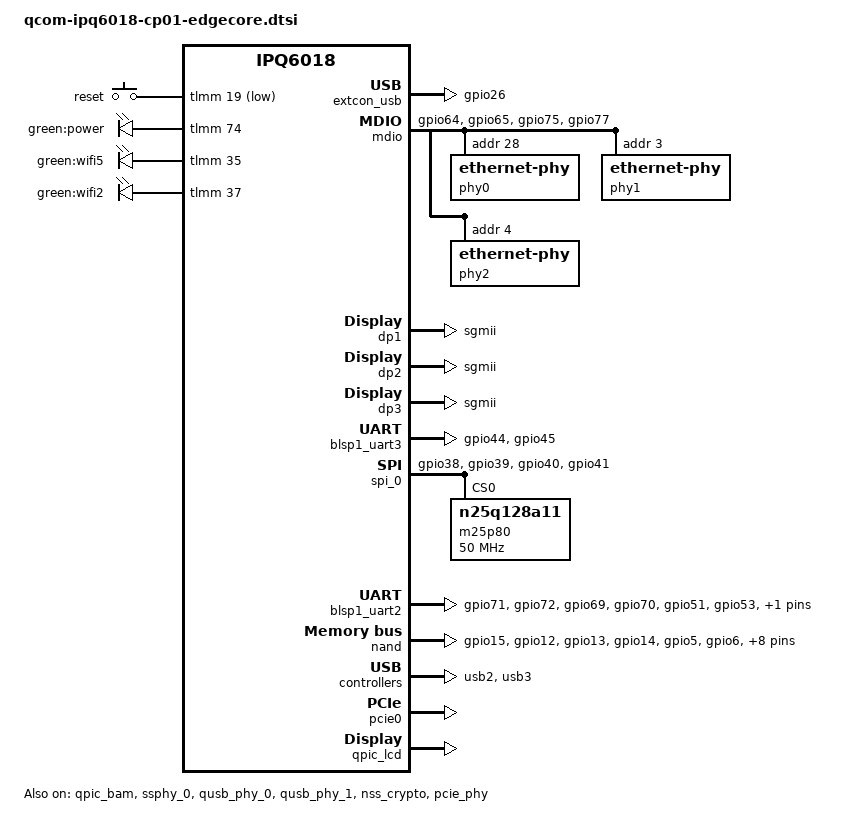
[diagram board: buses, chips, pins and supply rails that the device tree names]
/*
 * Copyright (c) 2019, The Linux Foundation. All rights reserved.
 *
 * Permission to use, copy, modify, and/or distribute this software for any
 * purpose with or without fee is hereby granted, provided that the above
 * copyright notice and this permission notice appear in all copies.
 *
 * THE SOFTWARE IS PROVIDED "AS IS" AND THE AUTHOR DISCLAIMS ALL WARRANTIES
 * WITH REGARD TO THIS SOFTWARE INCLUDING ALL IMPLIED WARRANTIES OF
 * MERCHANTABILITY AND FITNESS. IN NO EVENT SHALL THE AUTHOR BE LIABLE FOR
 * ANY SPECIAL, DIRECT, INDIRECT, OR CONSEQUENTIAL DAMAGES OR ANY DAMAGES
 * WHATSOEVER RESULTING FROM LOSS OF USE, DATA OR PROFITS, WHETHER IN AN
 * ACTION OF CONTRACT, NEGLIGENCE OR OTHER TORTIOUS ACTION, ARISING OUT OF
 * OR IN CONNECTION WITH THE USE OR PERFORMANCE OF THIS SOFTWARE.
 */

#include "qcom-ipq6018.dtsi"
#include <dt-bindings/input/input.h>
#include <dt-bindings/gpio/gpio.h>

/ {
	#address-cells = <0x2>;
	#size-cells = <0x2>;
	compatible = "qcom,ipq6018-cp01", "qcom,ipq6018";
	interrupt-parent = <&intc>;
	qcom,msm-id = <0x192 0x0>, <0x193 0x0>;

	aliases {
		serial0 = &blsp1_uart3;
		serial1 = &blsp1_uart2;
		sdhc2 = &sdhc_2;
		/*
		 * Aliases as required by u-boot
		 * to patch MAC addresses
		 */
		ethernet0 = "/soc/dp1";
		ethernet1 = "/soc/dp2";
		ethernet2 = "/soc/dp3";

		led-boot = &led_power;
		led-failsafe = &led_power;
		led-running = &led_power;
		led-upgrade = &led_power;
	};

	chosen {
		bootargs = "console=ttyMSM0,115200,n8 rw init=/init";
#ifdef __IPQ_MEM_PROFILE_256_MB__
		bootargs-append = " swiotlb=1";
#else
		bootargs-append = " swiotlb=1 coherent_pool=2M";
#endif
	};

};

&tlmm {
	pinctrl-0 = <&sd_ldo_pins>;
	pinctrl-names = "default";

	uart_pins: uart_pins {
		mux {
			pins = "gpio44", "gpio45";
			function = "blsp2_uart";
			drive-strength = <8>;
			bias-pull-down;
		};
	};

	sd_ldo_pins: sd_ldo_pins {
		mux {
			pins = "gpio66";
			function = "gpio";
			drive-strength = <2>;
			bias-disable;
			output-low;
		};
	};

	spi_0_pins: spi_0_pins {
		mux {
			pins = "gpio38", "gpio39", "gpio40", "gpio41";
			function = "blsp0_spi";
			drive-strength = <8>;
			bias-pull-down;
		};
	};

	spi_1_pins: spi_1_pins {
		mux {
			pins = "gpio69", "gpio71", "gpio72";
			function = "blsp1_spi";
			drive-strength = <8>;
			bias-pull-down;
		};
		spi_cs {
			pins = "gpio70";
			function = "blsp1_spi";
			drive-strength = <8>;
			bias-disable;
		};
		quartz_interrupt {
			pins = "gpio78";
			function = "gpio";
			input;
			bias-disable;
		};
		quartz_reset {
			pins = "gpio79";
			function = "gpio";
			output-low;
			bias-disable;
		};

	};

	qpic_pins: qpic_pins {
		data_0 {
			pins = "gpio15";
			function = "qpic_pad0";
			drive-strength = <8>;
			bias-pull-down;
		};
		data_1 {
			pins = "gpio12";
			function = "qpic_pad1";
			drive-strength = <8>;
			bias-pull-down;
		};
		data_2 {
			pins = "gpio13";
			function = "qpic_pad2";
			drive-strength = <8>;
			bias-pull-down;
		};
		data_3 {
			pins = "gpio14";
			function = "qpic_pad3";
			drive-strength = <8>;
			bias-pull-down;
		};
		data_4 {
			pins = "gpio5";
			function = "qpic_pad4";
			drive-strength = <8>;
			bias-pull-down;
		};
		data_5 {
			pins = "gpio6";
			function = "qpic_pad5";
			drive-strength = <8>;
			bias-pull-down;
		};
		data_6 {
			pins = "gpio7";
			function = "qpic_pad6";
			drive-strength = <8>;
			bias-pull-down;
		};
		data_7 {
			pins = "gpio8";
			function = "qpic_pad7";
			drive-strength = <8>;
			bias-pull-down;
		};
		qpic_pad {
			pins = "gpio1", "gpio3", "gpio4",
			       "gpio10", "gpio11", "gpio17";
			function = "qpic_pad";
			drive-strength = <8>;
			bias-pull-down;
		};
	};

	sd_pins: sd_pins {
		mux {
			pins = "gpio62";
			function = "sd_card";
			drive-strength = <8>;
			bias-pull-up;
		};
	};

	extcon_usb_pins: extcon_usb_pins {
		mux {
			pins = "gpio26";
			function = "gpio";
			drive-strength = <2>;
			bias-pull-down;
		};
	};

	button_pins: button_pins {
		wps_button {
			pins = "gpio9";
			function = "gpio";
			drive-strength = <8>;
			bias-pull-up;
		};
		reset_button {
			pins = "gpio19";
			function = "gpio";
			drive-strength = <8>;
			bias-pull-up;
		};
	};

	mdio_pins: mdio_pinmux {
		mux_0 {
			pins = "gpio64";
			function = "mdc";
			drive-strength = <8>;
			bias-pull-up;
		};
		mux_1 {
			pins = "gpio65";
			function = "mdio";
			drive-strength = <8>;
			bias-pull-up;
		};
		mux_2 {
			pins = "gpio75";
			function = "gpio";
			bias-pull-up;
		};
		mux_3 {
			pins = "gpio77";
			function = "gpio";
			bias-pull-up;
		};
	};

	leds_pins: leds_pins {
		led_pwr {
			pins = "gpio74";
			function = "gpio";
			drive-strength = <8>;
			bias-pull-down;
		};
		led_5g {
			pins = "gpio35";
			function = "gpio";
			drive-strength = <8>;
			bias-pull-down;
		};
		led_2g {
			pins = "gpio37";
			function = "gpio";
			drive-strength = <8>;
			bias-pull-down;
		};
		led_wan {
			pins = "gpio62";
			function = "gpio";
			drive-strength = <8>;
			bias-pull-down;
		};
		led_lan1 {
			pins = "gpio61";
			function = "gpio";
			drive-strength = <8>;
			bias-pull-down;
		};
		led_lan2 {
			pins = "gpio63";
			function = "gpio";
			drive-strength = <8>;
			bias-pull-down;
		};
		led_bt {
			pins = "gpio73";
			function = "gpio";
			drive-strength = <8>;
			bias-pull-down;
		};
	};

	hsuart_pins: hsuart_pins {
		mux {
			pins = "gpio71", "gpio72", "gpio69", "gpio70";
			function = "blsp1_uart";
			drive-strength = <8>;
			bias-disable;
		};
	};

	btcoex_pins: btcoex_pins {
		mux_0 {
			pins = "gpio51";
			function = "pta1_1";
			drive-strength = <6>;
			bias-pull-down;
		};
		mux_1 {
			pins = "gpio53";
			function = "pta1_0";
			drive-strength = <6>;
			bias-pull-down;
		};
		mux_2 {
			pins = "gpio52";
			function = "pta1_2";
			drive-strength = <6>;
			bias-pull-down;
		};
	};
};

&soc {
	extcon_usb: extcon_usb {
		pinctrl-0 = <&extcon_usb_pins>;
		pinctrl-names = "default";
		id-gpio = <&tlmm 26 GPIO_ACTIVE_LOW>;
		status = "ok";
	};

	mdio: mdio@90000 {
		pinctrl-0 = <&mdio_pins>;
		pinctrl-names = "default";
		phy-reset-gpio = <&tlmm 75 0 &tlmm 77 1>;
		status = "ok";
		phy0: ethernet-phy@0 {
			reg = <0x1c>;
		};
		phy1: ethernet-phy@1 {
			reg = <3>;
		};
		phy2: ethernet-phy@2 {
			reg = <4>;
		};
	};

	dp1 {
		device_type = "network";
		compatible = "qcom,nss-dp";
		qcom,id = <5>;
		reg = <0x3a001000 0x200>;
		qcom,mactype = <0>;
		local-mac-address = [000000000000];
		qcom,link-poll = <1>;
		qcom,phy-mdio-addr = <28>;
		phy-mode = "sgmii";
	};

	dp2 {
		device_type = "network";
		compatible = "qcom,nss-dp";
		qcom,id = <4>;
		reg = <0x3a001200 0x200>;
		qcom,mactype = <0>;
		local-mac-address = [000000000000];
		qcom,link-poll = <1>;
		qcom,phy-mdio-addr = <3>;
		phy-mode = "sgmii";
	};

	dp3 {
		device_type = "network";
		compatible = "qcom,nss-dp";
		qcom,id = <3>;
		reg = <0x3a001400 0x200>;
		qcom,mactype = <0>;
		local-mac-address = [000000000000];
		qcom,link-poll = <1>;
		qcom,phy-mdio-addr = <4>;
		phy-mode = "sgmii";
	};


	nss-macsec0 {
		compatible = "qcom,nss-macsec";
		phy_addr = <0x1c>;
		phy_access_mode = <0>;
		mdiobus = <&mdio>;
	};

	ess-switch@3a000000 {
		switch_cpu_bmp = <0x1>;  /* cpu port bitmap */
		switch_lan_bmp = <0x1e>; /* lan port bitmap */
		switch_wan_bmp = <0x20>; /* wan port bitmap */
		switch_inner_bmp = <0xc0>; /*inner port bitmap*/
		switch_mac_mode = <0x0>; /* mac mode for uniphy instance0*/
		switch_mac_mode1 = <0xf>; /* mac mode for uniphy instance1*/
		switch_mac_mode2 = <0xff>; /* mac mode for uniphy instance2*/
		qcom,port_phyinfo {
			port@2 {
				port_id = <3>;
				phy_address = <4>;
			};
			port@1 {
				port_id = <4>;
				phy_address = <3>;
			};
			port@0 {
				port_id = <5>;
				phy_address = <0x1c>;
				port_mac_sel = "QGMAC_PORT";
			};
		};
	};

	gpio_keys {
		compatible = "gpio-keys";
		pinctrl-0 = <&button_pins>;
		pinctrl-names = "default";

		/*wps {
			label = "wps";
			linux,code = <KEY_WPS_BUTTON>;
			gpios = <&tlmm 9 GPIO_ACTIVE_LOW>;
			linux,input-type = <1>;
			debounce-interval = <60>;
		};*/
		reset {
			label = "reset";
			linux,code = <KEY_RESTART>;
			gpios = <&tlmm 19 GPIO_ACTIVE_LOW>;
			linux,input-type = <1>;
			debounce-interval = <60>;
		};
	};

	leds {
		compatible = "gpio-leds";
		pinctrl-0 = <&leds_pins>;
		pinctrl-names = "default";

		led_power: led@74 {
			label = "green:power";
			gpios = <&tlmm 74 GPIO_ACTIVE_HIGH>;
			linux,default-trigger = "led_pwr";
			default-state = "on";
		};
		led@35 {
			label = "green:wifi5";
			gpios = <&tlmm 35 GPIO_ACTIVE_HIGH>;
			linux,default-trigger = "led_5g";
			default-state = "off";
		};
		led@37 {
			label = "green:wifi2";
			gpios = <&tlmm 37 GPIO_ACTIVE_HIGH>;
			linux,default-trigger = "led_2g";
			default-state = "off";
		};
	};
};

&blsp1_uart3 {
	pinctrl-0 = <&uart_pins>;
	pinctrl-names = "default";
	status = "ok";
};

&spi_0 {
	pinctrl-0 = <&spi_0_pins>;
	pinctrl-names = "default";
	cs-select = <0>;
	status = "ok";

	m25p80@0 {
		#address-cells = <1>;
		#size-cells = <1>;
		reg = <0>;
		compatible = "n25q128a11";
		linux,modalias = "m25p80", "n25q128a11";
		spi-max-frequency = <50000000>;
		use-default-sizes;
	};
};

&blsp1_uart2 {
	pinctrl-0 = <&hsuart_pins &btcoex_pins>;
	pinctrl-names = "default";
	dmas = <&blsp_dma 2>,
		<&blsp_dma 3>;
	dma-names = "tx", "rx";
	status = "ok";
};

&spi_1 { /* BLSP1 QUP1 */
	pinctrl-0 = <&spi_1_pins>;
	pinctrl-names = "default";
	cs-select = <0>;
	quartz-reset-gpio = <&tlmm 79 1>;
	status = "disabled";
	spidev1: spi@1 {
		compatible = "qca,spidev";
		reg = <0>;
		spi-max-frequency = <24000000>;
	};
};

&qpic_bam {
	status = "ok";
};

&nand {
	pinctrl-0 = <&qpic_pins>;
	pinctrl-names = "default";
	status = "ok";
};

&ssphy_0 {
	status = "ok";
};

&qusb_phy_0 {
	status = "ok";
};

&qusb_phy_1 {
	status = "ok";
};

&usb2 {
	status = "ok";
};

&usb3 {
	status = "ok";
};

&nss_crypto {
	status = "ok";
};

&pcie_phy {
	status = "ok";
};

&pcie0 {
	status = "ok";
};

&qpic_lcd {
	status = "ok";
};

&qpic_lcd_panel {
	status = "ok";
};
